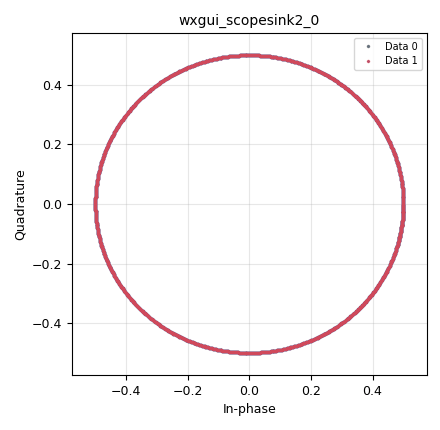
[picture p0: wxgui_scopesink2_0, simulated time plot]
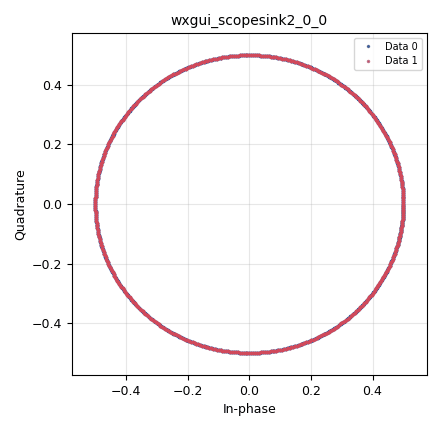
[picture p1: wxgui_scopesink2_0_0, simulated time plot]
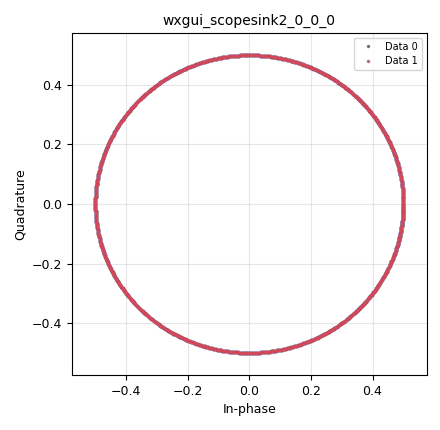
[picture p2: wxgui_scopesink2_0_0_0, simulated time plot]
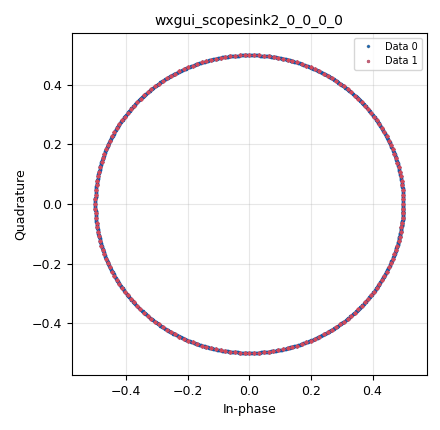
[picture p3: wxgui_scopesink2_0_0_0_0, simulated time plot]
<?xml version='1.0' encoding='utf-8'?>
<?grc format='1' created='3.7.11'?>
<flow_graph>
<block>
<key>options</key>
<param><key>id</key><value>top_block</value></param>
<param><key>generate_options</key><value>wx_gui</value></param>
</block>
<block>
<key>variable_chooser</key>
<param><key>id</key><value>FASE</value></param>
<param><key>choices</key><value>[250,100,0,-100,-250]</value></param>
<param><key>value</key><value>0</value></param>
<param><key>grid_pos</key><value>0,4,1,1</value></param>
<param><key>label</key><value></value></param>
<param><key>labels</key><value>[]</value></param>
<param><key>style</key><value>wx.RA_HORIZONTAL</value></param>
<param><key>type</key><value>radio_buttons</value></param>
</block>
<block>
<key>variable</key>
<param><key>id</key><value>samp_rate</value></param>
<param><key>value</key><value>1000000</value></param>
</block>
<block>
<key>analog_sig_source_x</key>
<param><key>id</key><value>analog_sig_source_x_0</value></param>
<param><key>amp</key><value>0.5</value></param>
<param><key>freq</key><value>1000</value></param>
<param><key>offset</key><value>0</value></param>
<param><key>type</key><value>complex</value></param>
<param><key>samp_rate</key><value>samp_rate</value></param>
<param><key>waveform</key><value>analog.GR_COS_WAVE</value></param>
</block>
<block>
<key>analog_sig_source_x</key>
<param><key>id</key><value>analog_sig_source_x_0_0</value></param>
<param><key>amp</key><value>0.5</value></param>
<param><key>freq</key><value>1000</value></param>
<param><key>offset</key><value>0</value></param>
<param><key>type</key><value>complex</value></param>
<param><key>samp_rate</key><value>samp_rate</value></param>
<param><key>waveform</key><value>analog.GR_COS_WAVE</value></param>
</block>
<block>
<key>analog_sig_source_x</key>
<param><key>id</key><value>analog_sig_source_x_0_0_0</value></param>
<param><key>amp</key><value>0.5</value></param>
<param><key>freq</key><value>2000</value></param>
<param><key>offset</key><value>0</value></param>
<param><key>type</key><value>complex</value></param>
<param><key>samp_rate</key><value>samp_rate</value></param>
<param><key>waveform</key><value>analog.GR_COS_WAVE</value></param>
</block>
<block>
<key>analog_sig_source_x</key>
<param><key>id</key><value>analog_sig_source_x_0_0_0_0</value></param>
<param><key>amp</key><value>0.5</value></param>
<param><key>freq</key><value>3000</value></param>
<param><key>offset</key><value>0</value></param>
<param><key>type</key><value>complex</value></param>
<param><key>samp_rate</key><value>samp_rate</value></param>
<param><key>waveform</key><value>analog.GR_COS_WAVE</value></param>
</block>
<block>
<key>analog_sig_source_x</key>
<param><key>id</key><value>analog_sig_source_x_0_0_0_0_0</value></param>
<param><key>amp</key><value>0.5</value></param>
<param><key>freq</key><value>5000</value></param>
<param><key>offset</key><value>0</value></param>
<param><key>type</key><value>complex</value></param>
<param><key>samp_rate</key><value>samp_rate</value></param>
<param><key>waveform</key><value>analog.GR_COS_WAVE</value></param>
</block>
<block>
<key>blocks_delay</key>
<param><key>id</key><value>blocks_delay_0</value></param>
<param><key>delay</key><value>FASE</value></param>
<param><key>type</key><value>complex</value></param>
</block>
<block>
<key>blocks_throttle</key>
<param><key>id</key><value>blocks_throttle_0_0</value></param>
<param><key>samples_per_second</key><value>samp_rate</value></param>
<param><key>type</key><value>complex</value></param>
</block>
<block>
<key>blocks_throttle</key>
<param><key>id</key><value>blocks_throttle_0_0_0</value></param>
<param><key>samples_per_second</key><value>samp_rate</value></param>
<param><key>type</key><value>complex</value></param>
</block>
<block>
<key>blocks_throttle</key>
<param><key>id</key><value>blocks_throttle_0_0_0_0</value></param>
<param><key>samples_per_second</key><value>samp_rate</value></param>
<param><key>type</key><value>complex</value></param>
</block>
<block>
<key>blocks_throttle</key>
<param><key>id</key><value>blocks_throttle_0_0_0_0_0</value></param>
<param><key>samples_per_second</key><value>samp_rate</value></param>
<param><key>type</key><value>complex</value></param>
</block>
<block>
<key>blocks_throttle</key>
<param><key>id</key><value>blocks_throttle_0_1</value></param>
<param><key>samples_per_second</key><value>samp_rate</value></param>
<param><key>type</key><value>complex</value></param>
</block>
<block>
<key>notebook</key>
<param><key>id</key><value>notebook_0</value></param>
<param><key>labels</key><value>['1:1','1:2','1:3','2:3']</value></param>
<param><key>style</key><value>wx.NB_LEFT</value></param>
</block>
<block>
<key>wxgui_scopesink2</key>
<param><key>id</key><value>wxgui_scopesink2_0</value></param>
<param><key>ac_couple</key><value>False</value></param>
<param><key>notebook</key><value>notebook_0,0</value></param>
<param><key>num_inputs</key><value>2</value></param>
<param><key>samp_rate</key><value>samp_rate</value></param>
<param><key>t_scale</key><value>0</value></param>
<param><key>title</key><value></value></param>
<param><key>trig_mode</key><value>wxgui.TRIG_MODE_AUTO</value></param>
<param><key>type</key><value>complex</value></param>
<param><key>v_offset</key><value>0</value></param>
<param><key>v_scale</key><value>500e-3</value></param>
<param><key>xy_mode</key><value>True</value></param>
<param><key>y_axis_label</key><value>Counts</value></param>
</block>
<block>
<key>wxgui_scopesink2</key>
<param><key>id</key><value>wxgui_scopesink2_0_0</value></param>
<param><key>ac_couple</key><value>False</value></param>
<param><key>notebook</key><value>notebook_0,1</value></param>
<param><key>num_inputs</key><value>2</value></param>
<param><key>samp_rate</key><value>samp_rate</value></param>
<param><key>t_scale</key><value>0</value></param>
<param><key>title</key><value></value></param>
<param><key>trig_mode</key><value>wxgui.TRIG_MODE_AUTO</value></param>
<param><key>type</key><value>complex</value></param>
<param><key>v_offset</key><value>0</value></param>
<param><key>v_scale</key><value>500e-3</value></param>
<param><key>xy_mode</key><value>True</value></param>
<param><key>y_axis_label</key><value>Counts</value></param>
</block>
<block>
<key>wxgui_scopesink2</key>
<param><key>id</key><value>wxgui_scopesink2_0_0_0</value></param>
<param><key>ac_couple</key><value>False</value></param>
<param><key>notebook</key><value>notebook_0,2</value></param>
<param><key>num_inputs</key><value>2</value></param>
<param><key>samp_rate</key><value>samp_rate</value></param>
<param><key>t_scale</key><value>0</value></param>
<param><key>title</key><value></value></param>
<param><key>trig_mode</key><value>wxgui.TRIG_MODE_AUTO</value></param>
<param><key>type</key><value>complex</value></param>
<param><key>v_offset</key><value>0</value></param>
<param><key>v_scale</key><value>500e-3</value></param>
<param><key>xy_mode</key><value>True</value></param>
<param><key>y_axis_label</key><value>Counts</value></param>
</block>
<block>
<key>wxgui_scopesink2</key>
<param><key>id</key><value>wxgui_scopesink2_0_0_0_0</value></param>
<param><key>ac_couple</key><value>False</value></param>
<param><key>notebook</key><value>notebook_0,3</value></param>
<param><key>num_inputs</key><value>2</value></param>
<param><key>samp_rate</key><value>samp_rate</value></param>
<param><key>t_scale</key><value>0</value></param>
<param><key>title</key><value></value></param>
<param><key>trig_mode</key><value>wxgui.TRIG_MODE_AUTO</value></param>
<param><key>type</key><value>complex</value></param>
<param><key>v_offset</key><value>0</value></param>
<param><key>v_scale</key><value>500e-3</value></param>
<param><key>xy_mode</key><value>True</value></param>
<param><key>y_axis_label</key><value>Counts</value></param>
</block>
<connection><source_block_id>analog_sig_source_x_0</source_block_id><sink_block_id>blocks_delay_0</sink_block_id><source_key>0</source_key><sink_key>0</sink_key></connection>
<connection><source_block_id>analog_sig_source_x_0_0</source_block_id><sink_block_id>blocks_throttle_0_0</sink_block_id><source_key>0</source_key><sink_key>0</sink_key></connection>
<connection><source_block_id>analog_sig_source_x_0_0_0</source_block_id><sink_block_id>blocks_throttle_0_0_0</sink_block_id><source_key>0</source_key><sink_key>0</sink_key></connection>
<connection><source_block_id>analog_sig_source_x_0_0_0_0</source_block_id><sink_block_id>blocks_throttle_0_0_0_0</sink_block_id><source_key>0</source_key><sink_key>0</sink_key></connection>
<connection><source_block_id>analog_sig_source_x_0_0_0_0_0</source_block_id><sink_block_id>blocks_throttle_0_0_0_0_0</sink_block_id><source_key>0</source_key><sink_key>0</sink_key></connection>
<connection><source_block_id>blocks_delay_0</source_block_id><sink_block_id>blocks_throttle_0_1</sink_block_id><source_key>0</source_key><sink_key>0</sink_key></connection>
<connection><source_block_id>blocks_throttle_0_0</source_block_id><sink_block_id>wxgui_scopesink2_0</sink_block_id><source_key>0</source_key><sink_key>1</sink_key></connection>
<connection><source_block_id>blocks_throttle_0_0_0</source_block_id><sink_block_id>wxgui_scopesink2_0_0</sink_block_id><source_key>0</source_key><sink_key>1</sink_key></connection>
<connection><source_block_id>blocks_throttle_0_0_0_0</source_block_id><sink_block_id>wxgui_scopesink2_0_0_0</sink_block_id><source_key>0</source_key><sink_key>1</sink_key></connection>
<connection><source_block_id>blocks_throttle_0_0_0_0_0</source_block_id><sink_block_id>wxgui_scopesink2_0_0_0_0</sink_block_id><source_key>0</source_key><sink_key>1</sink_key></connection>
<connection><source_block_id>blocks_throttle_0_1</source_block_id><sink_block_id>wxgui_scopesink2_0</sink_block_id><source_key>0</source_key><sink_key>0</sink_key></connection>
<connection><source_block_id>blocks_throttle_0_1</source_block_id><sink_block_id>wxgui_scopesink2_0_0</sink_block_id><source_key>0</source_key><sink_key>0</sink_key></connection>
<connection><source_block_id>blocks_throttle_0_1</source_block_id><sink_block_id>wxgui_scopesink2_0_0_0</sink_block_id><source_key>0</source_key><sink_key>0</sink_key></connection>
<connection><source_block_id>blocks_throttle_0_1</source_block_id><sink_block_id>wxgui_scopesink2_0_0_0_0</sink_block_id><source_key>0</source_key><sink_key>0</sink_key></connection>
</flow_graph>
